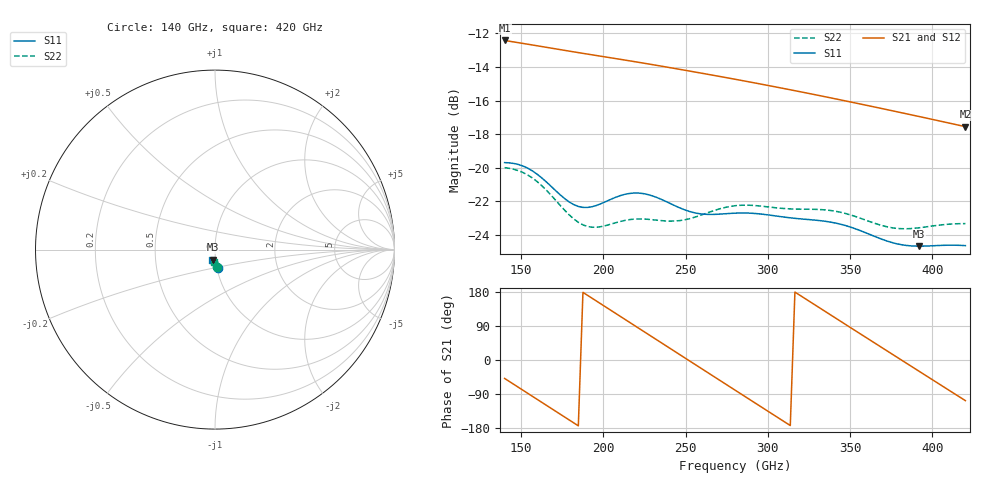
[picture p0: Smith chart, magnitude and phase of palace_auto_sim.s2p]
#  GHZ S DB R 50
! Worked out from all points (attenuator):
!   101 points, 140 GHz to 420 GHz, reference 50 ohm
!   highest |S21| = -12.42 dB at 140 GHz (marker M1); lowest = -17.5 dB at 420 GHz (marker M2)
!   lowest |S11| = -24.7 dB at 392 GHz (marker M3), VSWR 1.12, Z = 48.3 - j5.51 ohm
!   |S11| at or under -10 dB: start of sweep to end of sweep
!   |S22| runs from -23.6 to -20.0 dB; largest |S21 - S12| = 4e-13
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140  -19.69 -80.0  -12.42 -48.7  -12.42 -48.7  -19.98 -83.1
151.2  -19.89 -83.5  -12.59 -79.9  -12.59 -79.9  -20.28 -86.2
162.4  -20.58 -87.4  -12.77 -111.2  -12.77 -111.2  -21.04 -90.0
176.4  -21.82 -87.6  -13.00 -150.3  -13.00 -150.3  -22.51 -90.6
187.6  -22.35 -83.5  -13.18 178.5  -13.18 178.5  -23.39 -86.0
198.8  -22.12 -80.4  -13.36 147.2  -13.36 147.2  -23.49 -80.7
212.8  -21.58 -82.2  -13.58 108.1  -13.58 108.1  -23.13 -78.7
224  -21.53 -86.4  -13.76 76.8  -13.76 76.8  -23.04 -79.5
235.2  -21.87 -90.1  -13.94 45.6  -13.94 45.6  -23.14 -79.7
254.8  -22.66 -91.6  -14.28 -9.2  -14.28 -9.2  -22.96 -78.1
268.8  -22.76 -91.2  -14.52 -48.2  -14.52 -48.2  -22.49 -79.3
280  -22.70 -92.2  -14.72 -79.4  -14.72 -79.4  -22.25 -82.0
291.2  -22.71 -94.2  -14.93 -110.6  -14.93 -110.6  -22.24 -85.1
305.2  -22.87 -96.6  -15.19 -149.6  -15.19 -149.6  -22.38 -87.8
316.4  -23.00 -98.1  -15.41 179.3  -15.41 179.3  -22.45 -89.3
327.6  -23.10 -99.8  -15.62 148.2  -15.62 148.2  -22.47 -91.1
338.8  -23.24 -102.0  -15.85 117.1  -15.85 117.1  -22.55 -93.5
350  -23.52 -104.2  -16.07 86.0  -16.07 86.0  -22.79 -95.8
375.2  -24.44 -105.4  -16.59 16.3  -16.59 16.3  -23.56 -96.2
392  -24.66 -103.7  -16.95 -30.1  -16.95 -30.1  -23.57 -94.5
406  -24.61 -103.4  -17.24 -68.7  -17.24 -68.7  -23.39 -94.5
420  -24.63 -104.2  -17.55 -107.2  -17.55 -107.2  -23.32 -95.3
